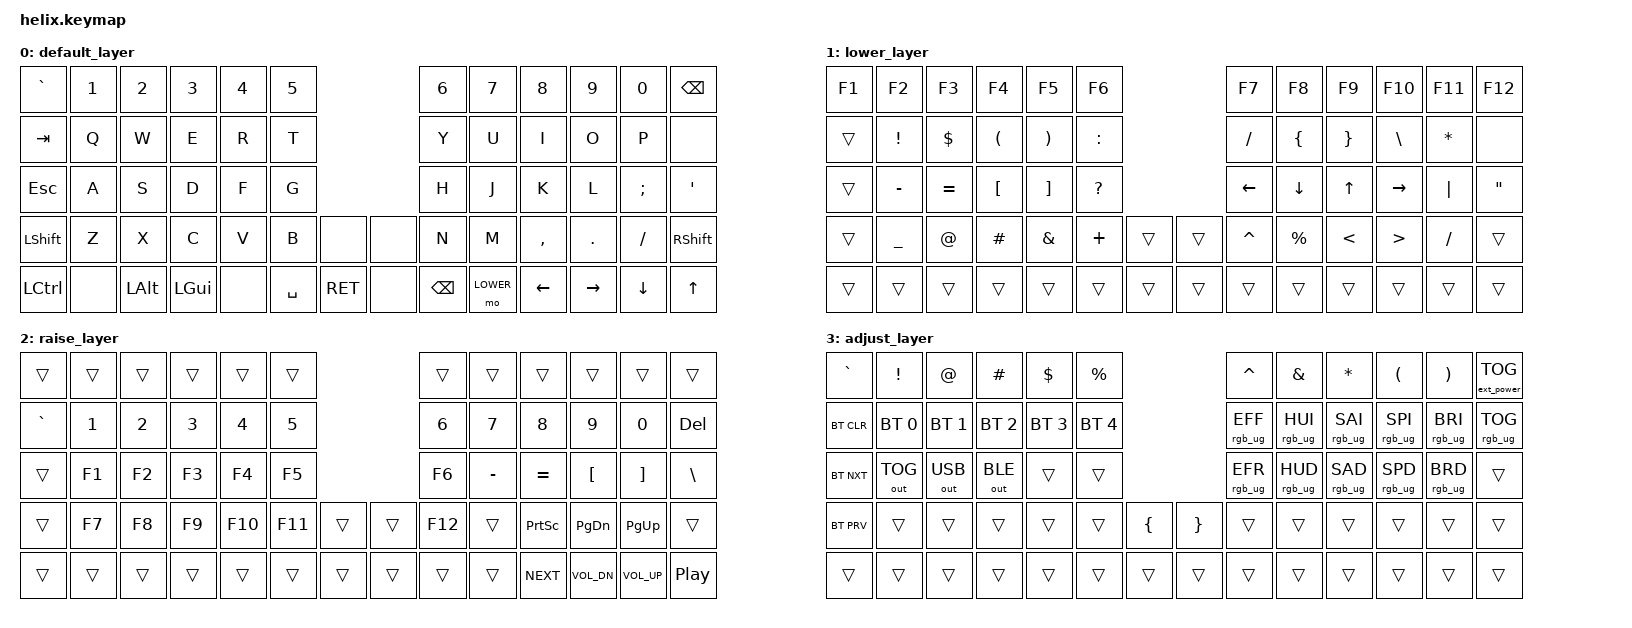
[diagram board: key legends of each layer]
/*
 * Copyright (c) 2020 The ZMK Contributors
 *
 * SPDX-License-Identifier: MIT
 */

 #include <behaviors.dtsi>
 #include <dt-bindings/zmk/keys.h>
 #include <dt-bindings/zmk/bt.h>
 #include <dt-bindings/zmk/rgb.h>
 #include <dt-bindings/zmk/ext_power.h>
 #include <dt-bindings/zmk/outputs.h>

 #define DEFAULT 0
 #define LOWER  1
 #define RAISE  2
 #define ADJUST 3

/* NOTE: At the time of the creation of this keymap, there are no specified codes for 'eisuu' and 'kana' input in ZMK.
However, 'LANG1' and 'LANG2' are fully-functioning candidates for 'kana' and 'eisuu' input respectively.
As such, those are in use within the default layer at this time.*/

/ {
       behaviors {
           mt: mod_tap {
               compatible = "zmk,behavior-hold-tap";
               #binding-cells = <2>;
               flavor = "balanced";
               tapping-term-ms = <200>;
               require-prior-idle-ms = <75>;
               bindings = <&kp>, <&kp>;
               display-name = "Mod-Tap";
           };
       };
       keymap {
              compatible = "zmk,keymap";

              default_layer {
                     bindings = <
                            &kp GRAVE  &kp N1   &kp N2   &kp N3   &kp N4    &kp N5                               &kp N6    &kp N7    &kp N8    &kp N9     &kp N0     &kp BSPC
                            &kp TAB    &kp Q    &kp W    &kp E    &kp R     &kp T                                &kp Y     &kp U     &kp I     &kp O      &kp P      &none
                            &kp ESC    &kp A    &kp S    &kp D    &kp F    &kp G                                 &kp H     &kp J     &kp K     &kp L      &kp SEMI   &kp SQT
                            &kp LSHFT  &kp Z    &kp X    &kp C    &kp V   &kp B      &none              &none    &kp N      &kp M      &kp COMMA &kp PERIOD &kp SLASH  &kp RSHFT
                            &kp LCTRL  &none    &kp LALT &kp LGUI &none   &kp SPACE   &RET              &none    &kp BSPC   &mo LOWER  &kp LEFT  &kp RIGHT  &kp DOWN   &kp UP
                     >;
              };
              lower_layer {
                     bindings = <
       &kp F1    &kp F2     &kp F3     &kp F4           &kp F5              &kp F6               &kp F7    &kp F8      &kp F9    &kp F10   &kp F11    &kp F12
       &trans    &kp EXCL   &kp DLLR   &kp LPAR         &kp RPAR            &kp COLON            &kp SLASH &kp LBRC    &kp RBRC  &kp BSLH  &kp ASTRK  &none
       &trans    &kp MINUS  &kp EQUAL  &kp LEFT_BRACKET &kp RIGHT_BRACKET   &kp QMARK            &kp LEFT  &kp DOWN    &kp UP    &kp RIGHT &kp PIPE   &kp DQT
       &trans    &kp UNDER  &kp AT     &kp HASH         &kp AMPS  &kp PLUS  &trans      &trans   &kp CARET &kp PERCENT &kp LT    &kp GT    &kp SLASH  &trans
       &trans    &trans     &trans     &trans           &trans    &trans    &trans      &trans   &trans    &trans      &trans    &trans    &trans     &trans
                     >;
              };
              raise_layer {
                     bindings = <
       &trans    &trans &trans &trans &trans  &trans                       &trans  &trans    &trans     &trans       &trans       &trans
       &kp GRAVE &kp N1 &kp N2 &kp N3 &kp N4  &kp N5                       &kp N6  &kp N7    &kp N8     &kp N9       &kp N0       &kp DEL
       &trans    &kp F1 &kp F2 &kp F3 &kp F4  &kp F5                       &kp F6  &kp MINUS &kp EQUAL  &kp LBKT     &kp RBKT     &kp BSLH
       &trans    &kp F7 &kp F8 &kp F9 &kp F10 &kp F11 &trans        &trans &kp F12 &trans    &kp PSCRN  &kp PG_DN    &kp PG_UP    &trans
       &trans    &trans &trans &trans &trans  &trans  &trans        &trans &trans  &trans    &kp C_NEXT &kp C_VOL_DN &kp C_VOL_UP &kp C_PP
                     >;
              };
              adjust_layer {
 // ---------------------------------------------------------------------------------------------------------------------------------
 // |    `     |    !     |    @     |    #     |    $     |    %     |                                          |    ^     |    &     |    *     |    (     |    )     |  EP TOG  |
 // |  BT CLR  | BT SEL0  | BT SEL1  | BT SEL2  | BGT SEL3 | BT SEL4  |                                          | RGB EFF+ | RGB HUE+ | RGB SAT+ | RGB SPD+ | RGB BRI+ | RGB TOG  |
 // |  BT NXT  | OUT TOG  | OUT USB  | OUT BLE  |          |          |                                          | RGB EFF- | RGB HUE- | RGB SAT- | RGB SPD- | RGB BRI- |          |
 // |  BT PRV  |          |          |          |          |          |    {     |                    |    }     |          |          |          |          |          |          |
 // |          |          |          |          |          |          |          |                    |          |          |          |          |          |          |          |
                     bindings = <
       &kp GRAVE  &kp EXCL     &kp AT       &kp HASH     &kp DLLR     &kp PRCNT                             &kp CARET       &kp AMPS        &kp ASTRK       &kp LPAR        &kp RPAR        &ext_power EP_TOG
       &bt BT_CLR &bt BT_SEL 0 &bt BT_SEL 1 &bt BT_SEL 2 &bt BT_SEL 3 &bt BT_SEL 4                          &rgb_ug RGB_EFF &rgb_ug RGB_HUI &rgb_ug RGB_SAI &rgb_ug RGB_SPI &rgb_ug RGB_BRI &rgb_ug RGB_TOG
       &bt BT_NXT &out OUT_TOG &out OUT_USB &out OUT_BLE &trans       &trans                                &rgb_ug RGB_EFR &rgb_ug RGB_HUD &rgb_ug RGB_SAD &rgb_ug RGB_SPD &rgb_ug RGB_BRD &trans
       &bt BT_PRV &trans       &trans       &trans       &trans       &trans       &kp LBRC        &kp RBRC &trans          &trans          &trans          &trans          &trans          &trans
       &trans     &trans       &trans       &trans       &trans       &trans       &trans          &trans   &trans          &trans          &trans          &trans          &trans          &trans
                     >;
              };
       };
};
